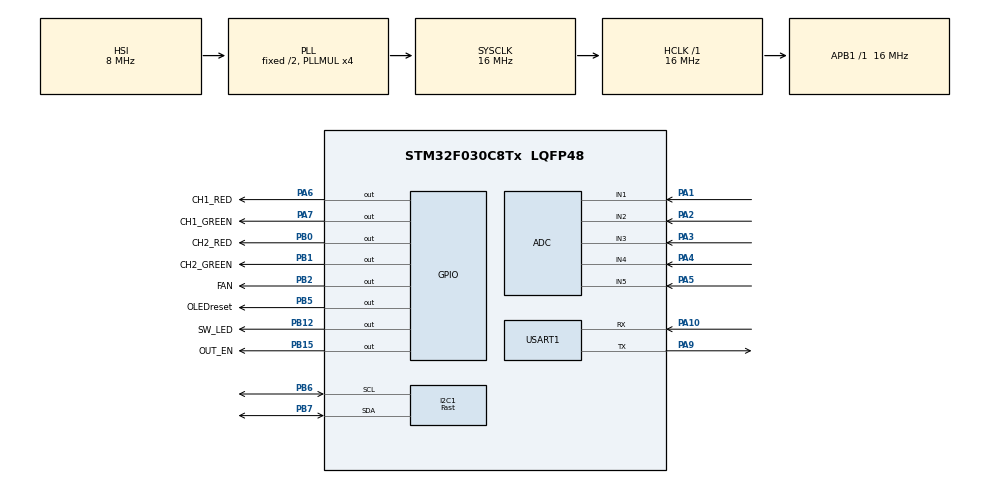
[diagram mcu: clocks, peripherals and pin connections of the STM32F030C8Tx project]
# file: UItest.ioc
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ADC.SamplingTime=ADC_SAMPLETIME_239CYCLES_5
Dma.ADC.0.Direction=DMA_PERIPH_TO_MEMORY
Dma.ADC.0.Instance=DMA1_Channel1
Dma.ADC.0.MemDataAlignment=DMA_MDATAALIGN_HALFWORD
Dma.ADC.0.MemInc=DMA_MINC_ENABLE
Dma.ADC.0.Mode=DMA_CIRCULAR
Dma.ADC.0.PeriphDataAlignment=DMA_PDATAALIGN_HALFWORD
Dma.ADC.0.PeriphInc=DMA_PINC_DISABLE
Dma.ADC.0.Priority=DMA_PRIORITY_LOW
Dma.Request0=ADC
I2C1.I2C_Speed_Mode=I2C_Fast
I2C1.Timing=0x0000020B
Mcu.Family=STM32F0
Mcu.Name=STM32F030C8Tx
Mcu.Package=LQFP48
NVIC.DMA1_Channel1_IRQn=true\:0\:0\:false\:false\:true\:false\:true
NVIC.TIM3_IRQn=true\:0\:0\:false\:false\:true\:true\:true
NVIC.USART1_IRQn=true\:0\:0\:false\:false\:true\:true\:true
PA1.Mode=IN1
PA1.Signal=ADC_IN1
PA10.Mode=Asynchronous
PA10.Signal=USART1_RX
PA13.Mode=Serial_Wire
PA13.Signal=SYS_SWDIO
PA14.Mode=Serial_Wire
PA14.Signal=SYS_SWCLK
PA2.Mode=IN2
PA2.Signal=ADC_IN2
PA3.Mode=IN3
PA3.Signal=ADC_IN3
PA4.Mode=IN4
PA4.Signal=ADC_IN4
PA5.Mode=IN5
PA5.Signal=ADC_IN5
PA6.GPIO_Label=CH1_RED
PA6.Signal=GPIO_Output
PA7.GPIO_Label=CH1_GREEN
PA7.Signal=GPIO_Output
PA9.Mode=Asynchronous
PA9.Signal=USART1_TX
PB0.GPIO_Label=CH2_RED
PB0.Signal=GPIO_Output
PB1.GPIO_Label=CH2_GREEN
PB1.Signal=GPIO_Output
PB12.GPIO_Label=SW_LED
PB12.Signal=GPIO_Output
PB15.GPIO_Label=OUT_EN
PB15.Signal=GPIO_Output
PB2.GPIO_Label=FAN
PB2.Signal=GPIO_Output
PB5.GPIO_Label=OLEDreset
PB5.Signal=GPIO_Output
PB6.Mode=I2C
PB6.Signal=I2C1_SCL
PB7.Mode=I2C
PB7.Signal=I2C1_SDA
ProjectManager.HeapSize=0x200
ProjectManager.StackSize=0x400
ProjectManager.TargetToolchain=STM32CubeIDE
RCC.AHBFreq_Value=16000000
RCC.APB1Freq_Value=16000000
RCC.APB1TimFreq_Value=16000000
RCC.HCLKFreq_Value=16000000
RCC.PLLMUL=RCC_PLL_MUL4
RCC.SYSCLKFreq_VALUE=16000000
RCC.SYSCLKSource=RCC_SYSCLKSOURCE_PLLCLK
TIM3.Period=9999
TIM3.Prescaler=7
USART1.VirtualMode-Asynchronous=VM_ASYNC
VP_ADC_TempSens_Input.Mode=IN-TempSens
VP_ADC_Vref_Input.Mode=IN-Vrefint
VP_TIM3_VS_ClockSourceINT.Mode=Internal
board=custom

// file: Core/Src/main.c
/* USER CODE BEGIN Header */
/**
  ******************************************************************************
  * @file           : main.c
  * @brief          : Main program body
  ******************************************************************************
  * @attention
  *
  * <h2><center>&copy; Copyright (c) 2022 STMicroelectronics.
  * All rights reserved.</center></h2>
  *
  * This software component is licensed by ST under BSD 3-Clause license,
  * the "License"; You may not use this file except in compliance with the
  * License. You may obtain a copy of the License at:
  *                        opensource.org/licenses/BSD-3-Clause
  *
  ******************************************************************************
  */
/* USER CODE END Header */
#include "main.h"

/* USER CODE BEGIN Includes */
#include <stdio.h>
#include "ssd1306.h"
#include "ssd1306_tests.h"
//#include "OLED_SSD1306.h"

/* USER CODE END Includes */

/* USER CODE BEGIN PD */
#define INPUT_CURRENT_MAX 950 //920
#define CELL1_VOLTAGE_MIN 710 // margine 20
#define CELL2_VOLTAGE_MIN 696
#define CELLS_VOLTAGE_MIN 1406
#define OUTPUT_CURRENT_MAX 1950  //1940
#define OUTPUT_VOLTAGE_MAX 2890  //2850
#define OUTPUT_VOLTAGE_MIN 2750  //2800
#define OUTPUT_VOLTAGE_DELAY 2000  //3000
#define OUTPUT_CURRENT_FAN_ON 600

#define VERSION 100
/* USER CODE END PD */

ADC_HandleTypeDef hadc;
DMA_HandleTypeDef hdma_adc;

I2C_HandleTypeDef hi2c1;

TIM_HandleTypeDef htim3;

UART_HandleTypeDef huart1;

/* USER CODE BEGIN PV */
volatile uint16_t adcval[8];
char RcvData[32];
char* currentline;
uint32_t adc_tick=0;
uint32_t error_para = 0;
uint32_t error_count = 0;

uint16_t InputCurrent = 0;
uint16_t Cell1Voltage = 0;
uint16_t Cell2Voltage = 0;
uint16_t CellsVoltage = 0;

uint16_t OutputVoltage = 0;
uint16_t OutputCurrent = 0;

/* USER CODE END PV */

void SystemClock_Config(void);
static void MX_GPIO_Init(void);
static void MX_DMA_Init(void);
static void MX_I2C1_Init(void);
static void MX_USART1_UART_Init(void);
static void MX_ADC_Init(void);
static void MX_TIM3_Init(void);

/* USER CODE BEGIN 0 */
#ifdef __cplusplus
extern "C" int _write(int32_t file, uint8_t *ptr, int32_t len) {
#else
int _write(int32_t file, uint8_t *ptr, int32_t len) {
#endif
    if( HAL_UART_Transmit(&huart1, ptr, len, len) == HAL_OK ) return len;
    else return 0;
}

/* USER CODE END 0 */

int main(void)
{
  /* USER CODE BEGIN 1 */
  int cnt = 0;
  currentline = RcvData;
  uint32_t adc_start_tick= 0,uiFramRate = 0;
  /* USER CODE END 1 */

  /* MCU Configuration--------------------------------------------------------*/

  /* Reset of all peripherals, Initializes the Flash interface and the Systick. */
  HAL_Init();

  /* Configure the system clock */
  SystemClock_Config();

  /* Initialize all configured peripherals */
  MX_GPIO_Init();
  MX_DMA_Init();
  MX_I2C1_Init();
  MX_USART1_UART_Init();
  MX_ADC_Init();
  MX_TIM3_Init();
  /* USER CODE BEGIN 2 */

  HAL_TIM_PWM_Start(&htim3 , TIM_CHANNEL_1);
  HAL_TIM_PWM_Start(&htim3 , TIM_CHANNEL_2);
  HAL_TIM_PWM_Start(&htim3 , TIM_CHANNEL_3);
  HAL_TIM_PWM_Start(&htim3 , TIM_CHANNEL_4);
  HAL_TIM_Base_Start_IT(&htim3); // 10ms interrupt
  TIM3->CCR1 = 0;

  HAL_GPIO_WritePin(GPIOB, GPIO_PIN_5, GPIO_PIN_SET);
  HAL_Delay(20);

  ssd1306_Init();

  HAL_ADCEx_Calibration_Start(&hadc);

  HAL_GPIO_WritePin(SW_LED_GPIO_Port, SW_LED_Pin, GPIO_PIN_SET);
  HAL_GPIO_WritePin(CH1_GREEN_GPIO_Port, CH1_GREEN_Pin, GPIO_PIN_SET);
  HAL_GPIO_WritePin(CH1_RED_GPIO_Port, CH1_RED_Pin, GPIO_PIN_RESET);
  HAL_GPIO_WritePin(CH2_GREEN_GPIO_Port, CH2_GREEN_Pin, GPIO_PIN_SET);
  HAL_GPIO_WritePin(CH2_RED_GPIO_Port, CH2_RED_Pin, GPIO_PIN_RESET);

  HAL_Delay(500);

  HAL_GPIO_WritePin(SW_LED_GPIO_Port, SW_LED_Pin, GPIO_PIN_RESET);
  HAL_GPIO_WritePin(CH1_GREEN_GPIO_Port, CH1_GREEN_Pin, GPIO_PIN_RESET);
  HAL_GPIO_WritePin(CH1_RED_GPIO_Port, CH1_RED_Pin, GPIO_PIN_SET);
  HAL_GPIO_WritePin(CH2_GREEN_GPIO_Port, CH2_GREEN_Pin, GPIO_PIN_RESET);
  HAL_GPIO_WritePin(CH2_RED_GPIO_Port, CH2_RED_Pin, GPIO_PIN_SET);

  HAL_Delay(500);

  HAL_GPIO_WritePin(SW_LED_GPIO_Port, SW_LED_Pin, GPIO_PIN_SET);
  HAL_GPIO_WritePin(CH1_GREEN_GPIO_Port, CH1_GREEN_Pin, GPIO_PIN_SET);
  HAL_GPIO_WritePin(CH1_RED_GPIO_Port, CH1_RED_Pin, GPIO_PIN_RESET);
  HAL_GPIO_WritePin(CH2_GREEN_GPIO_Port, CH2_GREEN_Pin, GPIO_PIN_SET);
  HAL_GPIO_WritePin(CH2_RED_GPIO_Port, CH2_RED_Pin, GPIO_PIN_RESET);

  HAL_Delay(500);

  error_count = HAL_GetTick() ;

//  HAL_GPIO_WritePin(OUT_EN_GPIO_Port, OUT_EN_Pin, GPIO_PIN_SET);
//  HAL_GPIO_WritePin(OUT_EN_GPIO_Port, OUT_EN_Pin, GPIO_PIN_RESET);
  /* USER CODE END 2 */

  /* Infinite loop */
  /* USER CODE BEGIN WHILE */
  while (1)
  {
//    ssd1306_TestAll();
    adc_start_tick = HAL_GetTick();
    HAL_ADC_Start_DMA(&hadc, &adcval[0], 7);

#if 0
	ssd1306_Fill(Black);

    ssd1306_SetCursor(2, 0);
    ssd1306_WriteString("[#ADC TEST@]", Font_6x8, White);

    ssd1306_SetCursor(10, 10);
	sprintf(currentline,"cs %dms",HAL_GetTick());
    ssd1306_WriteString(currentline, Font_6x8, White);
    ssd1306_SetCursor(10, 20);
	sprintf(currentline,"Fr %dms as %dms",uiFramRate,adc_tick-adc_start_tick);
    ssd1306_WriteString(currentline, Font_6x8, White);
    ssd1306_SetCursor(10, 34);
	sprintf(currentline,"%4d %4d %4d %4d",adcval[0],adcval[1],adcval[2],adcval[3]);
    ssd1306_WriteString(currentline, Font_6x8, White);
    ssd1306_SetCursor(10, 44);
	sprintf(currentline,"%4d %4d %4d",adcval[4],adcval[5],adcval[6]);
    ssd1306_WriteString(currentline, Font_6x8, White);

    ssd1306_UpdateScreen();

//#else

	ssd1306_Fill(Black);

	ssd1306_SetCursor(2, 0);
	sprintf(currentline,"[GEN_12A-V%d] %dms",VERSION,uiFramRate);
    ssd1306_WriteString(currentline, Font_6x8, White);

    ssd1306_SetCursor(10, 10);
	sprintf(currentline,"IN_V : %4d> %4d",CellsVoltage,CELLS_VOLTAGE_MIN);
    ssd1306_WriteString(currentline, Font_6x8, White);
    ssd1306_SetCursor(10, 19);
	sprintf(currentline,"IN_A : %4d< %4d",InputCurrent,INPUT_CURRENT_MAX);
    ssd1306_WriteString(currentline, Font_6x8, White);
    ssd1306_SetCursor(10, 28);
	sprintf(currentline,"OUT_V: %4d> %4d",OutputVoltage,OUTPUT_VOLTAGE_MIN);
    ssd1306_WriteString(currentline, Font_6x8, White);
    ssd1306_SetCursor(10, 37);
	sprintf(currentline,"OUT_A: %4d< %4d",OutputCurrent,OUTPUT_CURRENT_MAX);
    ssd1306_WriteString(currentline, Font_6x8, White);

    ssd1306_SetCursor(2, 47);
    if( HAL_GPIO_ReadPin(OUT_EN_GPIO_Port,OUT_EN_Pin)== GPIO_PIN_SET )
    	ssd1306_WriteString("[OUT_EN]", Font_6x8, White);
    else
    	ssd1306_WriteString("[ OFF  ]", Font_6x8, White);

    ssd1306_SetCursor(56, 47);
    if( HAL_GPIO_ReadPin(FAN_GPIO_Port,FAN_Pin)== GPIO_PIN_SET )
    	ssd1306_WriteString("[FAN]", Font_6x8, White);
    else
    	ssd1306_WriteString("[off]", Font_6x8, White);

    ssd1306_SetCursor(2, 56);
    if( HAL_GPIO_ReadPin(SW_LED_GPIO_Port,SW_LED_Pin)== GPIO_PIN_SET )
    	ssd1306_WriteString("[SWLED]", Font_6x8, White);
    else
    	ssd1306_WriteString("[ off ]", Font_6x8, White);

    ssd1306_SetCursor(56, 56);
    if( HAL_GPIO_ReadPin(CH1_GREEN_GPIO_Port,CH1_GREEN_Pin)== GPIO_PIN_SET )
    	ssd1306_WriteChar('G',Font_6x8,White);
    if( HAL_GPIO_ReadPin(CH1_RED_GPIO_Port,CH1_RED_Pin)== GPIO_PIN_SET )
    	ssd1306_WriteChar('R',Font_6x8,White);

    ssd1306_SetCursor(74, 56);
    if( HAL_GPIO_ReadPin(CH2_GREEN_GPIO_Port,CH2_GREEN_Pin)== GPIO_PIN_SET )
    	ssd1306_WriteChar('G',Font_6x8,White);
    if( HAL_GPIO_ReadPin(CH2_RED_GPIO_Port,CH2_RED_Pin)== GPIO_PIN_SET )
    	ssd1306_WriteChar('R',Font_6x8,White);

    ssd1306_SetCursor(100, 47);
    sprintf(currentline,"%4d",Cell1Voltage); //,adcval[5]);
    ssd1306_WriteString(currentline, Font_6x8, White);

    ssd1306_SetCursor(100, 56);
    sprintf(currentline,"%4d",Cell2Voltage);
    ssd1306_WriteString(currentline, Font_6x8, White);

//    ssd1306_SetCursor(10, 56);
//	sprintf(currentline,"%4d %4d",adcval[5],adcval[6]);
//    ssd1306_WriteString(currentline, Font_6x8, White);

    ssd1306_UpdateScreen();

#endif

    HAL_Delay(10);

    printf("%u ms Fr:%dms iV:%d>%d iC:%d<%d oV:%d>%d oC:%d<%d c1:%d>%d c2:%d>%d ",
    		HAL_GetTick(),uiFramRate,CellsVoltage,CELLS_VOLTAGE_MIN,InputCurrent,INPUT_CURRENT_MAX,
			OutputVoltage,OUTPUT_VOLTAGE_MIN,OutputCurrent,OUTPUT_CURRENT_MAX,
			Cell1Voltage,CELL1_VOLTAGE_MIN,Cell2Voltage,CELL2_VOLTAGE_MIN);

    if( HAL_GPIO_ReadPin(OUT_EN_GPIO_Port,OUT_EN_Pin)== GPIO_PIN_SET )
    	printf("[OUT_EN]");
    else
    	printf("[ OFF  ]");

    if( HAL_GPIO_ReadPin(FAN_GPIO_Port,FAN_Pin)== GPIO_PIN_SET )
    	printf("[FAN]");
    else
    	printf("[off]");

    if( HAL_GPIO_ReadPin(SW_LED_GPIO_Port,SW_LED_Pin)== GPIO_PIN_SET )
    	printf("[SWLED]");
    else
    	printf("[ off ]");

    if( HAL_GPIO_ReadPin(CH1_GREEN_GPIO_Port,CH1_GREEN_Pin)== GPIO_PIN_SET )
    	printf("G" );
    if( HAL_GPIO_ReadPin(CH1_RED_GPIO_Port,CH1_RED_Pin)== GPIO_PIN_SET )
    	printf("R" );

    if( HAL_GPIO_ReadPin(CH2_GREEN_GPIO_Port,CH2_GREEN_Pin)== GPIO_PIN_SET )
    	printf("G");
    if( HAL_GPIO_ReadPin(CH2_RED_GPIO_Port,CH2_RED_Pin)== GPIO_PIN_SET )
    	printf("R" );

    if( OutputCurrent > OUTPUT_CURRENT_MAX )
    {
    	error_para = error_para | 1;
    }

    if( OutputVoltage > OUTPUT_VOLTAGE_MAX)
    {
//    	error_para = error_para | 2;
    }

    if( OutputVoltage <= OUTPUT_VOLTAGE_MIN )
    {
    	if(HAL_GetTick() - error_count >= OUTPUT_VOLTAGE_DELAY)
    	{
    		error_para = error_para | 4;
    	}
    }
    else
    {
    	error_count = HAL_GetTick() ;
    }

	printf(" E%d",error_para  );
    printf("\r\n");

//    printf("%u ms [ADC TEST] Fr= %dms as= %d ccr= %4d %4d %4d %4d\r\n",HAL_GetTick(),uiFramRate,adc_tick-adc_start_tick,TIM3->CCR1,TIM3->CCR2,TIM3->CCR3,TIM3->CCR4);

    uiFramRate = HAL_GetTick() - adc_start_tick;
//    HAL_Delay(1000);

    /* USER CODE END WHILE */

  }
}

void SystemClock_Config(void)
{
  RCC_OscInitTypeDef RCC_OscInitStruct = {0};
  RCC_ClkInitTypeDef RCC_ClkInitStruct = {0};
  RCC_PeriphCLKInitTypeDef PeriphClkInit = {0};

  /** Initializes the RCC Oscillators according to the specified parameters
  * in the RCC_OscInitTypeDef structure.
  */
  RCC_OscInitStruct.OscillatorType = RCC_OSCILLATORTYPE_HSI|RCC_OSCILLATORTYPE_HSI14;
  RCC_OscInitStruct.HSIState = RCC_HSI_ON;
  RCC_OscInitStruct.HSI14State = RCC_HSI14_ON;
  RCC_OscInitStruct.HSICalibrationValue = RCC_HSICALIBRATION_DEFAULT;
  RCC_OscInitStruct.HSI14CalibrationValue = 16;
  RCC_OscInitStruct.PLL.PLLState = RCC_PLL_ON;
  RCC_OscInitStruct.PLL.PLLSource = RCC_PLLSOURCE_HSI;
  RCC_OscInitStruct.PLL.PLLMUL = RCC_PLL_MUL4;
  RCC_OscInitStruct.PLL.PREDIV = RCC_PREDIV_DIV1;
  if (HAL_RCC_OscConfig(&RCC_OscInitStruct) != HAL_OK)
  {
    Error_Handler();
  }
  /** Initializes the CPU, AHB and APB buses clocks
  */
  RCC_ClkInitStruct.ClockType = RCC_CLOCKTYPE_HCLK|RCC_CLOCKTYPE_SYSCLK
                              |RCC_CLOCKTYPE_PCLK1;
  RCC_ClkInitStruct.SYSCLKSource = RCC_SYSCLKSOURCE_PLLCLK;
  RCC_ClkInitStruct.AHBCLKDivider = RCC_SYSCLK_DIV1;
  RCC_ClkInitStruct.APB1CLKDivider = RCC_HCLK_DIV1;

  if (HAL_RCC_ClockConfig(&RCC_ClkInitStruct, FLASH_LATENCY_0) != HAL_OK)
  {
    Error_Handler();
  }
  PeriphClkInit.PeriphClockSelection = RCC_PERIPHCLK_USART1|RCC_PERIPHCLK_I2C1;
  PeriphClkInit.Usart1ClockSelection = RCC_USART1CLKSOURCE_PCLK1;
  PeriphClkInit.I2c1ClockSelection = RCC_I2C1CLKSOURCE_HSI;
  if (HAL_RCCEx_PeriphCLKConfig(&PeriphClkInit) != HAL_OK)
  {
    Error_Handler();
  }
}

static void MX_ADC_Init(void)
{

  ADC_ChannelConfTypeDef sConfig = {0};

  /** Configure the global features of the ADC (Clock, Resolution, Data Alignment and number of conversion)
  */
  hadc.Instance = ADC1;
  hadc.Init.ClockPrescaler = ADC_CLOCK_ASYNC_DIV1;
  hadc.Init.Resolution = ADC_RESOLUTION_12B;
  hadc.Init.DataAlign = ADC_DATAALIGN_RIGHT;
  hadc.Init.ScanConvMode = ADC_SCAN_DIRECTION_FORWARD;
  hadc.Init.EOCSelection = ADC_EOC_SINGLE_CONV;
  hadc.Init.LowPowerAutoWait = DISABLE;
  hadc.Init.LowPowerAutoPowerOff = DISABLE;
  hadc.Init.ContinuousConvMode = DISABLE;
  hadc.Init.DiscontinuousConvMode = DISABLE;
  hadc.Init.ExternalTrigConv = ADC_SOFTWARE_START;
  hadc.Init.ExternalTrigConvEdge = ADC_EXTERNALTRIGCONVEDGE_NONE;
  hadc.Init.DMAContinuousRequests = DISABLE;
  hadc.Init.Overrun = ADC_OVR_DATA_PRESERVED;
  if (HAL_ADC_Init(&hadc) != HAL_OK)
  {
    Error_Handler();
  }
  /** Configure for the selected ADC regular channel to be converted.
  */
  sConfig.Channel = ADC_CHANNEL_1;
  sConfig.Rank = ADC_RANK_CHANNEL_NUMBER;
  sConfig.SamplingTime = ADC_SAMPLETIME_239CYCLES_5;
  if (HAL_ADC_ConfigChannel(&hadc, &sConfig) != HAL_OK)
  {
    Error_Handler();
  }
  /** Configure for the selected ADC regular channel to be converted.
  */
  sConfig.Channel = ADC_CHANNEL_2;
  if (HAL_ADC_ConfigChannel(&hadc, &sConfig) != HAL_OK)
  {
    Error_Handler();
  }
  /** Configure for the selected ADC regular channel to be converted.
  */
  sConfig.Channel = ADC_CHANNEL_3;
  if (HAL_ADC_ConfigChannel(&hadc, &sConfig) != HAL_OK)
  {
    Error_Handler();
  }
  /** Configure for the selected ADC regular channel to be converted.
  */
  sConfig.Channel = ADC_CHANNEL_4;
  if (HAL_ADC_ConfigChannel(&hadc, &sConfig) != HAL_OK)
  {
    Error_Handler();
  }
  /** Configure for the selected ADC regular channel to be converted.
  */
  sConfig.Channel = ADC_CHANNEL_5;
  if (HAL_ADC_ConfigChannel(&hadc, &sConfig) != HAL_OK)
  {
    Error_Handler();
  }
  /** Configure for the selected ADC regular channel to be converted.
  */
  sConfig.Channel = ADC_CHANNEL_TEMPSENSOR;
  if (HAL_ADC_ConfigChannel(&hadc, &sConfig) != HAL_OK)
  {
    Error_Handler();
  }
  /** Configure for the selected ADC regular channel to be converted.
  */
  sConfig.Channel = ADC_CHANNEL_VREFINT;
  if (HAL_ADC_ConfigChannel(&hadc, &sConfig) != HAL_OK)
  {
    Error_Handler();
  }

}

static void MX_I2C1_Init(void)
{

  hi2c1.Instance = I2C1;
  hi2c1.Init.Timing = 0x0000020B;
  hi2c1.Init.OwnAddress1 = 0;
  hi2c1.Init.AddressingMode = I2C_ADDRESSINGMODE_7BIT;
  hi2c1.Init.DualAddressMode = I2C_DUALADDRESS_DISABLE;
  hi2c1.Init.OwnAddress2 = 0;
  hi2c1.Init.OwnAddress2Masks = I2C_OA2_NOMASK;
  hi2c1.Init.GeneralCallMode = I2C_GENERALCALL_DISABLE;
  hi2c1.Init.NoStretchMode = I2C_NOSTRETCH_DISABLE;
  if (HAL_I2C_Init(&hi2c1) != HAL_OK)
  {
    Error_Handler();
  }
  /** Configure Analogue filter
  */
  if (HAL_I2CEx_ConfigAnalogFilter(&hi2c1, I2C_ANALOGFILTER_ENABLE) != HAL_OK)
  {
    Error_Handler();
  }
  /** Configure Digital filter
  */
  if (HAL_I2CEx_ConfigDigitalFilter(&hi2c1, 0) != HAL_OK)
  {
    Error_Handler();
  }

}

static void MX_TIM3_Init(void)
{

  TIM_ClockConfigTypeDef sClockSourceConfig = {0};
  TIM_MasterConfigTypeDef sMasterConfig = {0};

  htim3.Instance = TIM3;
  htim3.Init.Prescaler = 7;
  htim3.Init.CounterMode = TIM_COUNTERMODE_UP;
  htim3.Init.Period = 9999;
  htim3.Init.ClockDivision = TIM_CLOCKDIVISION_DIV1;
  htim3.Init.AutoReloadPreload = TIM_AUTORELOAD_PRELOAD_DISABLE;
  if (HAL_TIM_Base_Init(&htim3) != HAL_OK)
  {
    Error_Handler();
  }
  sClockSourceConfig.ClockSource = TIM_CLOCKSOURCE_INTERNAL;
  if (HAL_TIM_ConfigClockSource(&htim3, &sClockSourceConfig) != HAL_OK)
  {
    Error_Handler();
  }
  sMasterConfig.MasterOutputTrigger = TIM_TRGO_RESET;
  sMasterConfig.MasterSlaveMode = TIM_MASTERSLAVEMODE_DISABLE;
  if (HAL_TIMEx_MasterConfigSynchronization(&htim3, &sMasterConfig) != HAL_OK)
  {
    Error_Handler();
  }

}

static void MX_USART1_UART_Init(void)
{

  huart1.Instance = USART1;
  huart1.Init.BaudRate = 38400;
  huart1.Init.WordLength = UART_WORDLENGTH_8B;
  huart1.Init.StopBits = UART_STOPBITS_1;
  huart1.Init.Parity = UART_PARITY_NONE;
  huart1.Init.Mode = UART_MODE_TX_RX;
  huart1.Init.HwFlowCtl = UART_HWCONTROL_NONE;
  huart1.Init.OverSampling = UART_OVERSAMPLING_16;
  huart1.Init.OneBitSampling = UART_ONE_BIT_SAMPLE_DISABLE;
  huart1.AdvancedInit.AdvFeatureInit = UART_ADVFEATURE_NO_INIT;
  if (HAL_UART_Init(&huart1) != HAL_OK)
  {
    Error_Handler();
  }

}

static void MX_DMA_Init(void)
{

  /* DMA controller clock enable */
  __HAL_RCC_DMA1_CLK_ENABLE();

  /* DMA interrupt init */
  /* DMA1_Channel1_IRQn interrupt configuration */
  HAL_NVIC_SetPriority(DMA1_Channel1_IRQn, 0, 0);
  HAL_NVIC_EnableIRQ(DMA1_Channel1_IRQn);

}

static void MX_GPIO_Init(void)
{
  GPIO_InitTypeDef GPIO_InitStruct = {0};

  /* GPIO Ports Clock Enable */
  __HAL_RCC_GPIOA_CLK_ENABLE();
  __HAL_RCC_GPIOB_CLK_ENABLE();

  /*Configure GPIO pin Output Level */
  HAL_GPIO_WritePin(GPIOA, CH1_RED_Pin|CH1_GREEN_Pin, GPIO_PIN_RESET);

  /*Configure GPIO pin Output Level */
  HAL_GPIO_WritePin(GPIOB, CH2_RED_Pin|CH2_GREEN_Pin|FAN_Pin|SW_LED_Pin
                          |OUT_EN_Pin|OLEDreset_Pin, GPIO_PIN_RESET);

  /*Configure GPIO pins : CH1_RED_Pin CH1_GREEN_Pin */
  GPIO_InitStruct.Pin = CH1_RED_Pin|CH1_GREEN_Pin;
  GPIO_InitStruct.Mode = GPIO_MODE_OUTPUT_PP;
  GPIO_InitStruct.Pull = GPIO_NOPULL;
  GPIO_InitStruct.Speed = GPIO_SPEED_FREQ_LOW;
  HAL_GPIO_Init(GPIOA, &GPIO_InitStruct);

  /*Configure GPIO pins : CH2_RED_Pin CH2_GREEN_Pin FAN_Pin SW_LED_Pin
                           OUT_EN_Pin OLEDreset_Pin */
  GPIO_InitStruct.Pin = CH2_RED_Pin|CH2_GREEN_Pin|FAN_Pin|SW_LED_Pin
                          |OUT_EN_Pin|OLEDreset_Pin;
  GPIO_InitStruct.Mode = GPIO_MODE_OUTPUT_PP;
  GPIO_InitStruct.Pull = GPIO_NOPULL;
  GPIO_InitStruct.Speed = GPIO_SPEED_FREQ_LOW;
  HAL_GPIO_Init(GPIOB, &GPIO_InitStruct);

}

/* USER CODE BEGIN 4 */

void HAL_ADC_ConvCpltCallback(ADC_HandleTypeDef* hadc)
{
	static uint32_t swLedtoggleTime=0;

	adc_tick = HAL_GetTick();

	InputCurrent = adcval[0];
	Cell1Voltage = adcval[3]-adcval[4];
	Cell2Voltage = adcval[4];
	CellsVoltage = adcval[3];

	OutputVoltage = adcval[2];
	OutputCurrent = adcval[1];

	// OUT_EN work
	if(( InputCurrent <= INPUT_CURRENT_MAX )&&( CellsVoltage >= CELLS_VOLTAGE_MIN )&&
			( OutputVoltage <= OUTPUT_VOLTAGE_MAX )&&( OutputCurrent <= OUTPUT_CURRENT_MAX ))
	{
		/* Check the parameters */
		// OutputVoltage or OutputCurrent error
		if( error_para >= 1 )
			 HAL_GPIO_WritePin(OUT_EN_GPIO_Port, OUT_EN_Pin, GPIO_PIN_RESET);
		else
			HAL_GPIO_WritePin(OUT_EN_GPIO_Port, OUT_EN_Pin, GPIO_PIN_SET);
		//  HAL_GPIO_WritePin(OUT_EN_GPIO_Port, OUT_EN_Pin, GPIO_PIN_RESET);
	}
	else
	{
		//  HAL_GPIO_WritePin(OUT_EN_GPIO_Port, OUT_EN_Pin, GPIO_PIN_SET);
		  HAL_GPIO_WritePin(OUT_EN_GPIO_Port, OUT_EN_Pin, GPIO_PIN_RESET);
	}

	// FAN work
	if(OutputCurrent >= OUTPUT_CURRENT_FAN_ON)
	{
		// do FAN
		HAL_GPIO_WritePin(FAN_GPIO_Port, FAN_Pin, GPIO_PIN_SET);
		//  HAL_GPIO_WritePin(FAN_GPIO_Port, FAN_Pin, GPIO_PIN_RESET);
	}
	else
	{
		// don't FAN
		//HAL_GPIO_WritePin(FAN_GPIO_Port, FAN_Pin, GPIO_PIN_SET);
		HAL_GPIO_WritePin(FAN_GPIO_Port, FAN_Pin, GPIO_PIN_RESET);
	}

	// SW LED work
	if( HAL_GPIO_ReadPin(OUT_EN_GPIO_Port,OUT_EN_Pin)== GPIO_PIN_SET )
	{
		HAL_GPIO_WritePin(SW_LED_GPIO_Port, SW_LED_Pin, GPIO_PIN_SET);
	}
	else
	{
		if(HAL_GetTick()-swLedtoggleTime > 1000)
		{
			swLedtoggleTime = HAL_GetTick();
			HAL_GPIO_TogglePin(SW_LED_GPIO_Port, SW_LED_Pin);
		}
	}

	// LED ch1
	if(Cell1Voltage > CELL1_VOLTAGE_MIN)
	{
		// Green LED On, RED LED Off
		HAL_GPIO_WritePin(CH1_GREEN_GPIO_Port, CH1_GREEN_Pin, GPIO_PIN_RESET);
		HAL_GPIO_WritePin(CH1_RED_GPIO_Port, CH1_RED_Pin, GPIO_PIN_SET);
	}
	else
	{
		// Green LED Off, RED LED On
		HAL_GPIO_WritePin(CH1_GREEN_GPIO_Port, CH1_GREEN_Pin, GPIO_PIN_SET);
		HAL_GPIO_WritePin(CH1_RED_GPIO_Port, CH1_RED_Pin, GPIO_PIN_RESET);
	}

	// LED CH2
	if(Cell2Voltage > CELL2_VOLTAGE_MIN)
	{
		// Green LED On, RED LED Off
		HAL_GPIO_WritePin(CH2_GREEN_GPIO_Port, CH2_GREEN_Pin, GPIO_PIN_RESET);
		HAL_GPIO_WritePin(CH2_RED_GPIO_Port, CH2_RED_Pin, GPIO_PIN_SET);
	}
	else
	{
		// Green LED Off, RED LED On
		HAL_GPIO_WritePin(CH2_GREEN_GPIO_Port, CH2_GREEN_Pin, GPIO_PIN_SET);
		HAL_GPIO_WritePin(CH2_RED_GPIO_Port, CH2_RED_Pin, GPIO_PIN_RESET);
	}

}

void HAL_TIM_PeriodElapsedCallback(TIM_HandleTypeDef *htim)
{
	static uint32_t count=0;
	uint32_t c1,c2,c3,c4;

	if(htim->Instance == TIM3) // 10ms interrupt
	{
		count += 5;
		c1 = TIM3->ARR/2; // half
		c2 = count % c1;  // increase helf
		c3 = c1 - c2;	  // decrease helf
		c4 = c1/4;

		TIM3->CCR1 = TIM3->ARR-c2;//c2;
		TIM3->CCR2 = TIM3->ARR-c3;//c3;
		if(c2 < c4)
		{
			TIM3->CCR3 = TIM3->ARR;
			TIM3->CCR4 = TIM3->ARR;
		}
		else if(c2 < (c4*2))
		{
			TIM3->CCR3 = TIM3->ARR;
			TIM3->CCR4 = 0;
		}
		else if(c2 < (c4*3))
		{
			TIM3->CCR3 = 0;
			TIM3->CCR4 = TIM3->ARR;
		}
		else
		{
			TIM3->CCR3 = 0;
			TIM3->CCR4 = 0;
		}
	}
}
/* USER CODE END 4 */

void Error_Handler(void)
{
}

/************************ (C) COPYRIGHT STMicroelectronics *****END OF FILE****/
